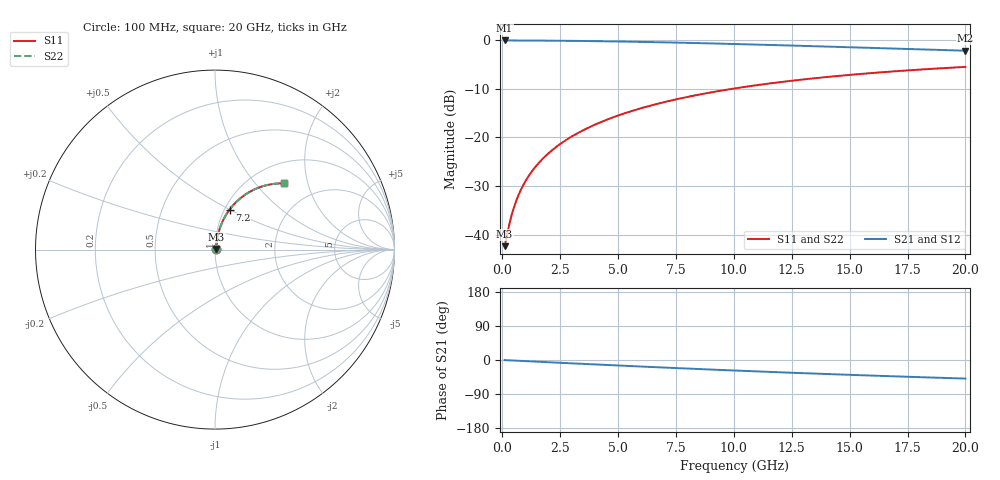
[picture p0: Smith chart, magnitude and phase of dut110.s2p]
! Touchstone file exported from HFSS 2024.1.0
!  File:  C:/UserFiles/LocalFiles/RDL_TSV_Batchsim/temp_RDL_top_110_1778683609.aedt
!  Generated:  10:49:09 PM May 13, 2026
!  Design:  RDL_top
!  Project:  temp_RDL_top_110_1778683609
!  Setup:  Setup1
!  Solution:  Sweep
! Variables:
!  dtsv = 10.80580581um
!  hbump = 3um
!  htsv = 96.31um
!  ldown = 100um
!  lrdl = 647.32um
!  p = 40
!  p1 = 47.02um
!  rhole = 1um
!  t = 450um
!  tdown = 3.915915916um
!  trdl = 3um
!  wdown = 15.38538539um
!  wrdl = 11.37um
# GHz S MA R 50.000000
! Terminal data exported
! Port[1] = Box2_T1
! Port[2] = Box2_T2
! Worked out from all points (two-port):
!   200 points, 100 MHz to 20 GHz, reference 50 ohm
!   highest |S21| = -0.06 dB at 100 MHz (marker M1); lowest = -2.2 dB at 20 GHz (marker M2)
!   |S21| within 3 dB of the highest: start of sweep to end of sweep
!   lowest |S11| = -42.4 dB at 100 MHz (marker M3), VSWR 1.02, Z = 50.7 + j0.358 ohm
!   |S11| at or under -10 dB: start of sweep to 9.938 GHz
!   |S22| runs from -42.4 to -5.5 dB; largest |S21 - S12| = 3.2e-15
!   S11 on the Smith chart (normalised r, x): 100 MHz: 1.01, +0.01; 7.2 GHz: 1.06, +0.50; 20 GHz: 1.39, +1.42
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0.1  0.007602 27.7  0.9933 -0.3  0.9933 -0.3  0.007602 27.7
! Gamma 0 0 0 0
! Port Impedance 50 0 50 0
0.3  0.01265 56.4  0.9931 -0.9  0.9931 -0.9  0.01265 56.4
0.4  0.01574 62.8  0.9929 -1.2  0.9929 -1.2  0.01574 62.8
0.5  0.01895 66.9  0.9927 -1.5  0.9927 -1.5  0.01895 66.9
0.6  0.02221 69.7  0.9925 -1.8  0.9925 -1.8  0.02221 69.7
0.7  0.0255 71.7  0.9923 -2.1  0.9923 -2.1  0.0255 71.7
0.9  0.03211 74.4  0.9918 -2.7  0.9918 -2.7  0.03211 74.4
1.2  0.04207 76.6  0.991 -3.6  0.991 -3.6  0.04207 76.6
1.4  0.04874 77.4  0.9905 -4.2  0.9905 -4.2  0.04874 77.4
1.7  0.05875 78.1  0.9895 -5.0  0.9895 -5.0  0.05875 78.1
2.2  0.07545 78.5  0.9876 -6.5  0.9876 -6.5  0.07546 78.5
2.8  0.09547 78.2  0.9847 -8.2  0.9847 -8.2  0.09548 78.2
3.5  0.1187 77.3  0.9806 -10.3  0.9806 -10.3  0.1187 77.3
4.2  0.1418 76.2  0.9758 -12.3  0.9758 -12.3  0.1418 76.2
5  0.1678 74.7  0.9694 -14.5  0.9694 -14.5  0.1678 74.7
6.8  0.2246 70.9  0.952 -19.5  0.952 -19.5  0.2246 70.9
7.2  0.2368 70.0  0.9476 -20.5  0.9476 -20.5  0.2369 70.0
8.6  0.2785 66.9  0.9313 -24.2  0.9313 -24.2  0.2785 66.9
10.1  0.3207 63.6  0.9124 -27.9  0.9124 -27.9  0.3207 63.6
13.4  0.404 56.5  0.8679 -35.7  0.8679 -35.7  0.404 56.5
16.7  0.4738 49.9  0.8226 -42.7  0.8226 -42.7  0.4738 50.0
20  0.531 44.0  0.7792 -49.0  0.7792 -49.0  0.531 44.0
